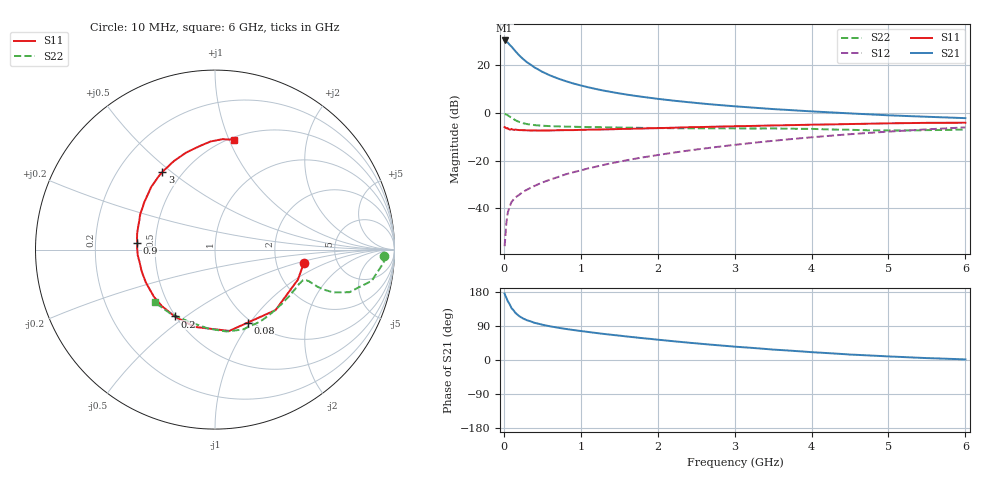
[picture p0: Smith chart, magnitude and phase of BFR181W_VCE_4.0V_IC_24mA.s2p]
! (c) 2017  Infineon Technologies AG, Munich
! Infineon Technologies  Discrete & RF Semiconductors
! BFR181W
! VCE =  4.0 V,  IC =  24 mA
! Common Emitter S-Parameters:  Jan 2017
# GHz  S  MA  R  50
!  f  S11  S21  S12  S22
! GHz  MAG  ANG  MAG  ANG  MAG  ANG  MAG  ANG
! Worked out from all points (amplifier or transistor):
!   77 points, 10 MHz to 6 GHz, reference 50 ohm
!   highest |S21| = 30.3 dB at 10 MHz (marker M1)
!   |S21| within 3 dB of that: start of sweep to 110.8 MHz
!   unconditionally stable (mu >= 1): 404.6 MHz to 2.534 GHz
!   at 130 MHz: K = 0.53, MSG = 31.4 dB, |S12| = -36.2 dB
!   at 2.2 GHz: K = 1.05, MAG = 9.5 dB, |S12| = -16.7 dB
!   at 6 GHz: K = 0.88, MSG = 1.9 dB, |S12| = -6.1 dB
!   S11 on the Smith chart (normalised r, x): 10 MHz: 2.87, -0.58; 80 MHz: 0.96, -0.98; 200 MHz: 0.50, -0.46; 900 MHz: 0.39, +0.04; 3 GHz: 0.39, +0.47; 6 GHz: 0.52, +1.04
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0.01  0.5007 -8.7  32.92 175.3  0.0016 83.7  0.9431 -2.0
0.02  0.4911 -20.0  32.26 169.6  0.0025 90.6  0.9422 -4.4
0.05  0.4769 -45.0  29.94 155.6  0.0079 74.8  0.8909 -11.2
0.08  0.4458 -65.9  26.28 145.3  0.0112 68.9  0.8264 -14.8
0.1  0.46 -80.1  24.42 136.9  0.0135 66.6  0.7855 -17.6
0.15  0.4455 -104.9  19.64 124.5  0.0169 60.7  0.7001 -19.9
0.2  0.4347 -121.0  16.02 115.7  0.0191 61.2  0.6431 -20.2
0.25  0.4322 -133.2  13.44 109.6  0.0221 60.1  0.607 -19.9
0.3  0.4299 -142.5  11.52 104.9  0.0244 61.4  0.5814 -19.3
0.4  0.4266 -154.8  8.929 98.0  0.0294 65.4  0.5524 -18.6
0.5  0.4261 -163.7  7.238 93.1  0.0346 67.0  0.5365 -18.5
0.6  0.426 -170.7  6.098 88.9  0.0397 69.7  0.5265 -18.7
0.7  0.4316 -175.8  5.266 85.4  0.0448 72.3  0.5197 -19.2
0.9  0.4345 175.0  4.137 79.2  0.0566 74.4  0.5108 -21.2
1.1  0.4431 168.0  3.425 73.9  0.0686 75.8  0.5033 -23.5
1.5  0.4577 156.2  2.557 64.4  0.0945 77.2  0.4913 -29.5
2.1  0.4819 141.7  1.884 51.7  0.138 76.7  0.4776 -40.8
3  0.5231 124.0  1.371 35.2  0.2128 72.1  0.4714 -60.4
3.1  0.5262 122.1  1.335 33.8  0.2219 71.2  0.4701 -62.5
4.1  0.5669 104.9  1.052 19.5  0.3165 62.1  0.4551 -84.5
5.1  0.605 91.1  0.875 8.6  0.413 51.0  0.4262 -113.1
6  0.6206 80.1  0.774 1.6  0.4957 40.1  0.4467 -138.8
